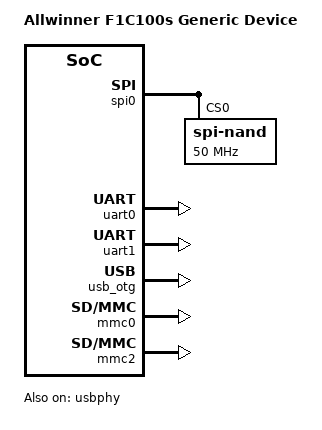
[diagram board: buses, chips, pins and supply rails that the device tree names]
// SPDX-License-Identifier: (GPL-2.0+ OR X11)

/dts-v1/;
#include "suniv-f1c100s-uboot.dtsi"

#include <dt-bindings/gpio/gpio.h>

/ {
	model = "Allwinner F1C100s Generic Device";
	compatible = "lctech,cherrypi-f1c200s", "allwinner,suniv-f1c200s",
		     "allwinner,suniv-f1c100s", "allwinner,suniv";

	aliases {
		serial0 = &uart1;
		spi0 = &spi0;
	};

	chosen {
		stdout-path = "serial0:115200n8";
	};
};

&otg_sram {
	status = "okay";
};

&spi0 {
	pinctrl-names = "default";
	pinctrl-0 = <&spi0_pins_a>;
	status = "okay";

	spi-nand@0 {
		#address-cells = <1>;
		#size-cells = <1>;
		reg = <0>;
		compatible = "spi-nand";
		spi-max-frequency = <50000000>;
	};
};


&uart0 {
	pinctrl-names = "default";
	pinctrl-0 = <&uart0_pins_a>;
	status = "okay";
};

&uart1 {
	pinctrl-names = "default";
	pinctrl-0 = <&uart1_pins_a>;
	status = "okay";
};

&usb_otg {
	status = "okay";
};

&usbphy {
	status = "okay";
};

&mmc0 {
	status = "okay";
};

&mmc2 {
	status = "okay";
};
